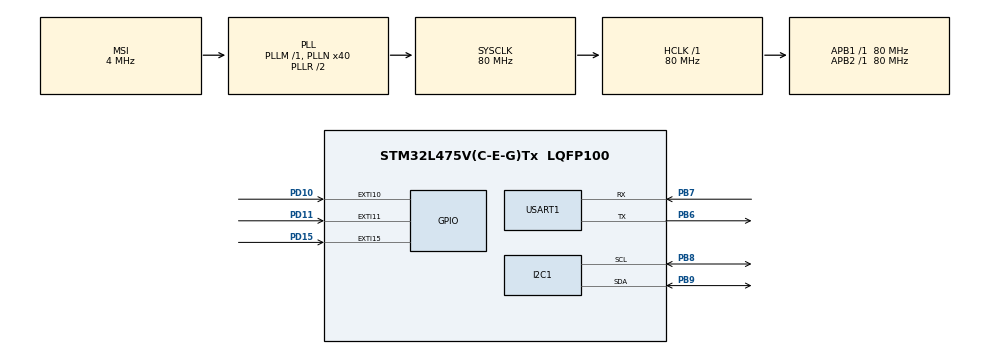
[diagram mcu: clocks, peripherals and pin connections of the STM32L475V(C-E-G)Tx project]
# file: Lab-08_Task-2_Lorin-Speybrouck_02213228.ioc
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I2C1.Timing=0x10909CEC
Mcu.Family=STM32L4
Mcu.Name=STM32L475V(C-E-G)Tx
Mcu.Package=LQFP100
NVIC.PriorityGroup=NVIC_PRIORITYGROUP_4
PB6.Mode=Asynchronous
PB6.Signal=USART1_TX
PB7.Mode=Asynchronous
PB7.Signal=USART1_RX
PB8.Mode=I2C
PB8.Signal=I2C1_SCL
PB9.Mode=I2C
PB9.Signal=I2C1_SDA
PD10.Signal=GPXTI10
PD11.Signal=GPXTI11
PD15.Signal=GPXTI15
ProjectManager.HeapSize=0x200
ProjectManager.StackSize=0x400
ProjectManager.TargetToolchain=STM32CubeIDE
RCC.ADCFreq_Value=48000000
RCC.AHBFreq_Value=80000000
RCC.APB1Freq_Value=80000000
RCC.APB1TimFreq_Value=80000000
RCC.APB2Freq_Value=80000000
RCC.APB2TimFreq_Value=80000000
RCC.CortexFreq_Value=80000000
RCC.HCLKFreq_Value=80000000
RCC.HSE_VALUE=8000000
RCC.HSI_VALUE=16000000
RCC.LSE_VALUE=32768
RCC.MSI_VALUE=4000000
RCC.PLLN=40
RCC.PLLSAI1N=24
RCC.SYSCLKFreq_VALUE=80000000
RCC.SYSCLKSource=RCC_SYSCLKSOURCE_PLLCLK
RCC.USBFreq_Value=48000000
RCC.VCOOutputFreq_Value=160000000
USART1.VirtualMode-Asynchronous=VM_ASYNC
board=B-L475E-IOT01A2

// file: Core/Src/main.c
/* USER CODE BEGIN Header */
/**
 ******************************************************************************
 * @file           : main.c
 * @brief          : Main program body
 ******************************************************************************
 * @attention
 *
 * Copyright (c) 2024 STMicroelectronics.
 * All rights reserved.
 *
 * This software is licensed under terms that can be found in the LICENSE file
 * in the root directory of this software component.
 * If no LICENSE file comes with this software, it is provided AS-IS.
 *
 ******************************************************************************
 */
/* USER CODE END Header */
#include "main.h"

/* USER CODE BEGIN Includes */
#include "stdio.h"
#include <math.h>
#include "stm32l475e_iot01.h"
#include "stm32l475e_iot01_tsensor.h"
#include "stm32l475e_iot01_hsensor.h"
#include "stm32l475e_iot01_psensor.h"
#include "stm32l475e_iot01_accelero.h"
/* USER CODE END Includes */

I2C_HandleTypeDef hi2c1;

UART_HandleTypeDef huart1;

void SystemClock_Config(void);
static void MX_GPIO_Init(void);
static void MX_I2C1_Init(void);
static void MX_USART1_UART_Init(void);

int main(void) {

	/* MCU Configuration--------------------------------------------------------*/

	/* Reset of all peripherals, Initializes the Flash interface and the Systick. */
	HAL_Init();

	/* Configure the system clock */
	SystemClock_Config();

	/* Initialize all configured peripherals */
	MX_GPIO_Init();
	MX_I2C1_Init();
	MX_USART1_UART_Init();
	/* USER CODE BEGIN 2 */
	BSP_TSENSOR_Init(); // HTS221
	BSP_HSENSOR_Init(); // HTS221
	BSP_PSENSOR_Init(); // LPS22HB
	BSP_ACCELERO_Init(); // LSM6DSL
	/* USER CODE END 2 */

	/* Infinite loop */
	while (1) {

		/* USER CODE BEGIN 3 */
		char text[200] = "";
		float temperature = BSP_TSENSOR_ReadTemp();
		float humidity = BSP_HSENSOR_ReadHumidity();
		float pressure = BSP_PSENSOR_ReadPressure();
		int16_t XYZ[3];
		BSP_ACCELERO_AccGetXYZ(XYZ);
		int x = XYZ[0];
		int y = XYZ[1];
		int z = XYZ[2];

		// Table: Temperature, Humidity, Pressure, X, Y, Z
		sprintf(text, "%f, %f, %f, %d, %d, %d \r\n", temperature, humidity,
				pressure, x, y, z);
		HAL_UART_Transmit(&huart1, (uint8_t*) text, sizeof(text), 1000);

		HAL_Delay(1000);
	}
	/* USER CODE END 3 */
}

void SystemClock_Config(void) {
	RCC_OscInitTypeDef RCC_OscInitStruct = { 0 };
	RCC_ClkInitTypeDef RCC_ClkInitStruct = { 0 };

	/** Configure the main internal regulator output voltage
	 */
	if (HAL_PWREx_ControlVoltageScaling(PWR_REGULATOR_VOLTAGE_SCALE1)
			!= HAL_OK) {
		Error_Handler();
	}

	/** Initializes the RCC Oscillators according to the specified parameters
	 * in the RCC_OscInitTypeDef structure.
	 */
	RCC_OscInitStruct.OscillatorType = RCC_OSCILLATORTYPE_MSI;
	RCC_OscInitStruct.MSIState = RCC_MSI_ON;
	RCC_OscInitStruct.MSICalibrationValue = 0;
	RCC_OscInitStruct.MSIClockRange = RCC_MSIRANGE_6;
	RCC_OscInitStruct.PLL.PLLState = RCC_PLL_ON;
	RCC_OscInitStruct.PLL.PLLSource = RCC_PLLSOURCE_MSI;
	RCC_OscInitStruct.PLL.PLLM = 1;
	RCC_OscInitStruct.PLL.PLLN = 40;
	RCC_OscInitStruct.PLL.PLLP = RCC_PLLP_DIV7;
	RCC_OscInitStruct.PLL.PLLQ = RCC_PLLQ_DIV2;
	RCC_OscInitStruct.PLL.PLLR = RCC_PLLR_DIV2;
	if (HAL_RCC_OscConfig(&RCC_OscInitStruct) != HAL_OK) {
		Error_Handler();
	}

	/** Initializes the CPU, AHB and APB buses clocks
	 */
	RCC_ClkInitStruct.ClockType = RCC_CLOCKTYPE_HCLK | RCC_CLOCKTYPE_SYSCLK
			| RCC_CLOCKTYPE_PCLK1 | RCC_CLOCKTYPE_PCLK2;
	RCC_ClkInitStruct.SYSCLKSource = RCC_SYSCLKSOURCE_PLLCLK;
	RCC_ClkInitStruct.AHBCLKDivider = RCC_SYSCLK_DIV1;
	RCC_ClkInitStruct.APB1CLKDivider = RCC_HCLK_DIV1;
	RCC_ClkInitStruct.APB2CLKDivider = RCC_HCLK_DIV1;

	if (HAL_RCC_ClockConfig(&RCC_ClkInitStruct, FLASH_LATENCY_4) != HAL_OK) {
		Error_Handler();
	}
}

static void MX_I2C1_Init(void) {

	hi2c1.Instance = I2C1;
	hi2c1.Init.Timing = 0x10909CEC;
	hi2c1.Init.OwnAddress1 = 0;
	hi2c1.Init.AddressingMode = I2C_ADDRESSINGMODE_7BIT;
	hi2c1.Init.DualAddressMode = I2C_DUALADDRESS_DISABLE;
	hi2c1.Init.OwnAddress2 = 0;
	hi2c1.Init.OwnAddress2Masks = I2C_OA2_NOMASK;
	hi2c1.Init.GeneralCallMode = I2C_GENERALCALL_DISABLE;
	hi2c1.Init.NoStretchMode = I2C_NOSTRETCH_DISABLE;
	if (HAL_I2C_Init(&hi2c1) != HAL_OK) {
		Error_Handler();
	}

	/** Configure Analogue filter
	 */
	if (HAL_I2CEx_ConfigAnalogFilter(&hi2c1, I2C_ANALOGFILTER_ENABLE)
			!= HAL_OK) {
		Error_Handler();
	}

	/** Configure Digital filter
	 */
	if (HAL_I2CEx_ConfigDigitalFilter(&hi2c1, 0) != HAL_OK) {
		Error_Handler();
	}

}

static void MX_USART1_UART_Init(void) {

	huart1.Instance = USART1;
	huart1.Init.BaudRate = 115200;
	huart1.Init.WordLength = UART_WORDLENGTH_8B;
	huart1.Init.StopBits = UART_STOPBITS_1;
	huart1.Init.Parity = UART_PARITY_NONE;
	huart1.Init.Mode = UART_MODE_TX_RX;
	huart1.Init.HwFlowCtl = UART_HWCONTROL_NONE;
	huart1.Init.OverSampling = UART_OVERSAMPLING_16;
	huart1.Init.OneBitSampling = UART_ONE_BIT_SAMPLE_DISABLE;
	huart1.AdvancedInit.AdvFeatureInit = UART_ADVFEATURE_NO_INIT;
	if (HAL_UART_Init(&huart1) != HAL_OK) {
		Error_Handler();
	}

}

static void MX_GPIO_Init(void) {
	GPIO_InitTypeDef GPIO_InitStruct = { 0 };

	/* GPIO Ports Clock Enable */
	__HAL_RCC_GPIOD_CLK_ENABLE();
	__HAL_RCC_GPIOB_CLK_ENABLE();

	/*Configure GPIO pins : PD10 PD11 PD15 */
	GPIO_InitStruct.Pin = GPIO_PIN_10 | GPIO_PIN_11 | GPIO_PIN_15;
	GPIO_InitStruct.Mode = GPIO_MODE_IT_RISING;
	GPIO_InitStruct.Pull = GPIO_NOPULL;
	HAL_GPIO_Init(GPIOD, &GPIO_InitStruct);

}

void Error_Handler(void) {
	__disable_irq();
	while (1) {
	}
}
